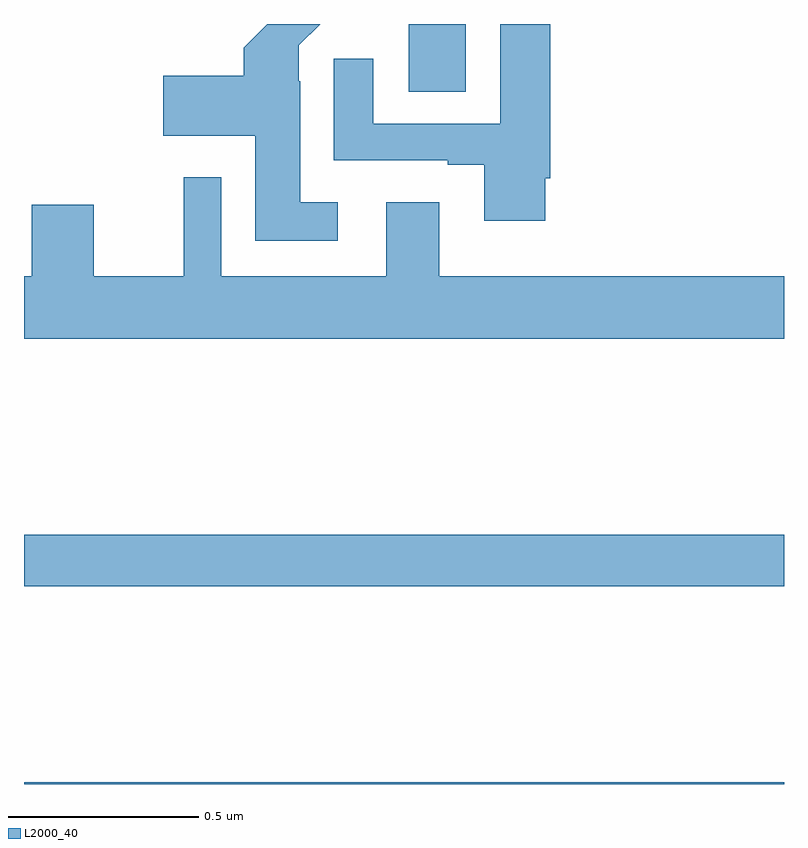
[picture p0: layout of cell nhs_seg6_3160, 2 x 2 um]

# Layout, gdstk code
import gdstk
lib = gdstk.Library(unit=1e-6, precision=1e-09)
def R(c, l, rs):  # rectangles x0, y0, x1, y1
    for r in rs: c.add(gdstk.rectangle(r[:2], r[2:], *l))
def P(c, l, *ps):  # polygons
    for p in ps: c.add(gdstk.Polygon(p, *l))
L2000_40 = (2000, 40)

nhs_seg6_3160 = lib.new_cell('nhs_seg6_3160')
R(nhs_seg6_3160, L2000_40, [(153,943.5,155,943.504), (153,944.02,155,944.156), (154.013,945.322,154.162,945.5)])
P(nhs_seg6_3160, L2000_40, [(154.372,945.094),(154.385,945.094),(154.385,945.5),(154.253,945.5),(154.253,945.237),(153.919,945.237),(153.919,945.409),(153.815,945.409),(153.815,945.141),(154.115,945.141),(154.115,945.129),(154.211,945.129),(154.211,944.982),(154.372,944.982)],
  [(153.826,945.031),(153.727,945.031),(153.727,945.35),(153.723,945.35),(153.723,945.444),(153.779,945.5),(153.64,945.5),(153.578,945.438),(153.578,945.364),(153.366,945.364),(153.366,945.206),(153.608,945.206),(153.608,944.93),(153.826,944.93)],
  [(155,944.836),(154.093,944.836),(154.093,945.031),(153.953,945.031),(153.953,944.836),(153.519,944.836),(153.519,945.097),(153.421,945.097),(153.421,944.836),(153.184,944.836),(153.184,945.025),(153.02,945.025),(153.02,944.836),(153,944.836),(153,944.672),(155,944.672)])

lib.write_gds('nhs_seg6_3160.gds')
